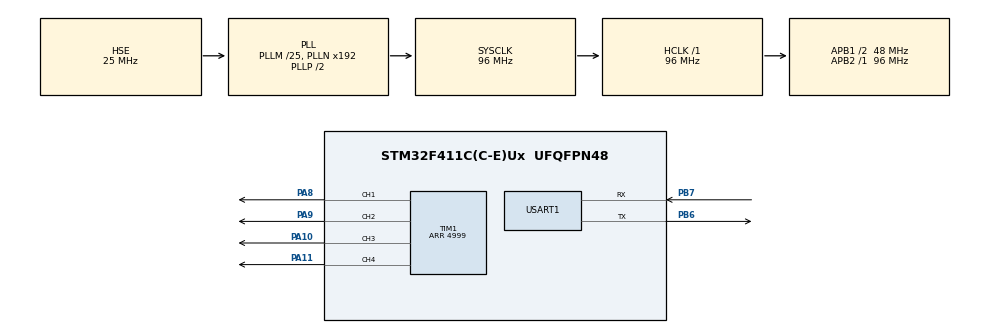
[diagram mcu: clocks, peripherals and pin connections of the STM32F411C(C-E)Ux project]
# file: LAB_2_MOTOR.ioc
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Mcu.Family=STM32F4
Mcu.Name=STM32F411C(C-E)Ux
Mcu.Package=UFQFPN48
NVIC.PriorityGroup=NVIC_PRIORITYGROUP_4
NVIC.TIM1_CC_IRQn=true\:0\:0\:false\:false\:true\:true\:true\:true
NVIC.USART1_IRQn=true\:0\:0\:false\:false\:true\:true\:true\:true
PA10.Signal=S_TIM1_CH3
PA11.Signal=S_TIM1_CH4
PA8.Signal=S_TIM1_CH1
PA9.Signal=S_TIM1_CH2
PB6.Mode=Asynchronous
PB6.Signal=USART1_TX
PB7.Mode=Asynchronous
PB7.Signal=USART1_RX
PH0\ -\ OSC_IN.Mode=HSE-External-Oscillator
PH0\ -\ OSC_IN.Signal=RCC_OSC_IN
PH1\ -\ OSC_OUT.Mode=HSE-External-Oscillator
PH1\ -\ OSC_OUT.Signal=RCC_OSC_OUT
ProjectManager.HeapSize=0x200
ProjectManager.StackSize=0x400
ProjectManager.TargetToolchain=STM32CubeIDE
RCC.48MHZClocksFreq_Value=48000000
RCC.AHBFreq_Value=96000000
RCC.APB1CLKDivider=RCC_HCLK_DIV2
RCC.APB1Freq_Value=48000000
RCC.APB1TimFreq_Value=96000000
RCC.APB2Freq_Value=96000000
RCC.APB2TimFreq_Value=96000000
RCC.CortexFreq_Value=96000000
RCC.HCLKFreq_Value=96000000
RCC.HSE_VALUE=25000000
RCC.HSI_VALUE=16000000
RCC.LSE_VALUE=32768
RCC.PLLM=25
RCC.PLLSourceVirtual=RCC_PLLSOURCE_HSE
RCC.SYSCLKFreq_VALUE=96000000
RCC.SYSCLKSource=RCC_SYSCLKSOURCE_PLLCLK
RCC.VCOOutputFreq_Value=192000000
SH.S_TIM1_CH1.0=TIM1_CH1,PWM Generation1 CH1
SH.S_TIM1_CH2.0=TIM1_CH2,PWM Generation2 CH2
SH.S_TIM1_CH3.0=TIM1_CH3,PWM Generation3 CH3
SH.S_TIM1_CH4.0=TIM1_CH4,PWM Generation4 CH4
TIM1.Channel-PWM\ Generation1\ CH1=TIM_CHANNEL_1
TIM1.Channel-PWM\ Generation2\ CH2=TIM_CHANNEL_2
TIM1.Channel-PWM\ Generation3\ CH3=TIM_CHANNEL_3
TIM1.Channel-PWM\ Generation4\ CH4=TIM_CHANNEL_4
TIM1.Period=4999
USART1.VirtualMode=VM_ASYNC
VP_TIM1_VS_ClockSourceINT.Mode=Internal
VP_TIM1_VS_ClockSourceITR.Mode=TriggerSource_ITR1
board=custom

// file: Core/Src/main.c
/* USER CODE BEGIN Header */
	/**
	  ******************************************************************************
	  * @file           : main.c
	  * @brief          : Main program body
	  ******************************************************************************
	  * @attention
	  *
	  * Copyright (c) 2026 STMicroelectronics.
	  * All rights reserved.
	  *
	  * This software is licensed under terms that can be found in the LICENSE file
	  * in the root directory of this software component.
	  * If no LICENSE file comes with this software, it is provided AS-IS.
	  *
	  ******************************************************************************
	  */
/* USER CODE END Header */
	#include "main.h" // Includes main.h header file

/* USER CODE BEGIN Includes */
	#include "motor_driver.h"   // Includes motor_driver.h header file
	#include <stdint.h>  		// Makes it so we have precise and predictable integer sizes
	#include <stdio.h>  		// String formatting
	#include <string.h> 		// Strings in memory
/* USER CODE END Includes */

/* USER CODE BEGIN PD */
	#define PWM_MAX 4999		// Defining the PWM_max as 4999

/* USER CODE END PD */

TIM_HandleTypeDef htim1;

UART_HandleTypeDef huart1;

/* USER CODE BEGIN PV */

	MotorDriver_t motor1;
	MotorDriver_t motor2;

	volatile int16_t motor1_cmd = 0;
	volatile int16_t motor2_cmd = 0;

	uint8_t rx_char;
	char cmd_buffer[16];
	uint8_t cmd_index = 0;
/* USER CODE END PV */

void SystemClock_Config(void);
static void MX_GPIO_Init(void);
static void MX_TIM1_Init(void);
static void MX_USART1_UART_Init(void);

/* USER CODE BEGIN 0 */
int hex_char_to_val(char c)
{
    if (c >= '0' && c <= '9') return c - '0';
    if (c >= 'A' && c <= 'F') return c - 'A' + 10;
    if (c >= 'a' && c <= 'f') return c - 'a' + 10;
    return -1;
}

int8_t hex_pair_to_int8(char high, char low)
{
    int hi = hex_char_to_val(high);
    int lo = hex_char_to_val(low);

    if (hi < 0 || lo < 0)
    {
        return 0;
    }

    return (int8_t)((hi << 4) | lo);
}

void process_command(char *cmd)
{
    char msg[64];
    int motor_num;
    int8_t value;

    if (strlen(cmd) != 4)
    {
        snprintf(msg, sizeof(msg), "Invalid command\r\n");
        HAL_UART_Transmit(&huart1, (uint8_t *)msg, strlen(msg), HAL_MAX_DELAY);
        return;
    }

    if (cmd[0] != 'M')
    {
        snprintf(msg, sizeof(msg), "Invalid command type\r\n");
        HAL_UART_Transmit(&huart1, (uint8_t *)msg, strlen(msg), HAL_MAX_DELAY);
        return;
    }

    if (cmd[1] != '1' && cmd[1] != '2')
    {
        snprintf(msg, sizeof(msg), "Invalid motor number\r\n");
        HAL_UART_Transmit(&huart1, (uint8_t *)msg, strlen(msg), HAL_MAX_DELAY);
        return;
    }

    if (hex_char_to_val(cmd[2]) < 0 || hex_char_to_val(cmd[3]) < 0)
    {
        snprintf(msg, sizeof(msg), "Invalid hex value\r\n");
        HAL_UART_Transmit(&huart1, (uint8_t *)msg, strlen(msg), HAL_MAX_DELAY);
        return;
    }

    motor_num = cmd[1] - '0';
    value = hex_pair_to_int8(cmd[2], cmd[3]);

    if (motor_num == 1)
    {
        motor1_cmd = value;
    }
    else
    {
        motor2_cmd = value;
    }

    snprintf(msg, sizeof(msg), "Motor %d command = %d\r\n", motor_num, value);
    HAL_UART_Transmit(&huart1, (uint8_t *)msg, strlen(msg), HAL_MAX_DELAY);
}
/* USER CODE END 0 */

int main(void)
{

  /* MCU Configuration--------------------------------------------------------*/

  /* Reset of all peripherals, Initializes the Flash interface and the Systick. */
  HAL_Init();

  /* Configure the system clock */
  SystemClock_Config();

  /* Initialize all configured peripherals */
  MX_GPIO_Init();
  MX_TIM1_Init();
  MX_USART1_UART_Init();
  /* USER CODE BEGIN 2 */

	  motor1.htim = &htim1;
	  motor1.ch_forward = TIM_CHANNEL_1;
	  motor1.ch_reverse = TIM_CHANNEL_2;
	  motor1.max_pwm = PWM_MAX;

	  motor2.htim = &htim1;
	  motor2.ch_forward = TIM_CHANNEL_3;
	  motor2.ch_reverse = TIM_CHANNEL_4;
	  motor2.max_pwm = PWM_MAX;

	  Motor_Enable(&motor1);
	  Motor_Enable(&motor2);
	  Motor_SetDuty(&motor1, 0);
	  Motor_SetDuty(&motor2, 0);

	  HAL_UART_Receive_IT(&huart1, &rx_char, 1);

	  char startup_msg[] = "UART ready\r\n";
	  HAL_UART_Transmit(&huart1, (uint8_t *)startup_msg, strlen(startup_msg), HAL_MAX_DELAY);
  /* USER CODE END 2 */

  /* Infinite loop */
  while (1)
  {

    /* USER CODE BEGIN 3 */
	  if (motor1_cmd == 0)
	      {
	          Motor_Disable(&motor1);
	      }
	      else
	      {
	          Motor_Enable(&motor1);
	          Motor_SetDuty(&motor1, motor1_cmd);
	      }

	      if (motor2_cmd == 0)
	      {
	          Motor_Disable(&motor2);
	      }
	      else
	      {
	          Motor_Enable(&motor2);
	          Motor_SetDuty(&motor2, motor2_cmd);
	      }

	      HAL_Delay(10);
  }
  /* USER CODE END 3 */
}

void SystemClock_Config(void)
{
  RCC_OscInitTypeDef RCC_OscInitStruct = {0};
  RCC_ClkInitTypeDef RCC_ClkInitStruct = {0};

  /** Configure the main internal regulator output voltage
  */
  __HAL_RCC_PWR_CLK_ENABLE();
  __HAL_PWR_VOLTAGESCALING_CONFIG(PWR_REGULATOR_VOLTAGE_SCALE1);

  /** Initializes the RCC Oscillators according to the specified parameters
  * in the RCC_OscInitTypeDef structure.
  */
  RCC_OscInitStruct.OscillatorType = RCC_OSCILLATORTYPE_HSE;
  RCC_OscInitStruct.HSEState = RCC_HSE_ON;
  RCC_OscInitStruct.PLL.PLLState = RCC_PLL_ON;
  RCC_OscInitStruct.PLL.PLLSource = RCC_PLLSOURCE_HSE;
  RCC_OscInitStruct.PLL.PLLM = 25;
  RCC_OscInitStruct.PLL.PLLN = 192;
  RCC_OscInitStruct.PLL.PLLP = RCC_PLLP_DIV2;
  RCC_OscInitStruct.PLL.PLLQ = 4;
  if (HAL_RCC_OscConfig(&RCC_OscInitStruct) != HAL_OK)
  {
    Error_Handler();
  }

  /** Initializes the CPU, AHB and APB buses clocks
  */
  RCC_ClkInitStruct.ClockType = RCC_CLOCKTYPE_HCLK|RCC_CLOCKTYPE_SYSCLK
                              |RCC_CLOCKTYPE_PCLK1|RCC_CLOCKTYPE_PCLK2;
  RCC_ClkInitStruct.SYSCLKSource = RCC_SYSCLKSOURCE_PLLCLK;
  RCC_ClkInitStruct.AHBCLKDivider = RCC_SYSCLK_DIV1;
  RCC_ClkInitStruct.APB1CLKDivider = RCC_HCLK_DIV2;
  RCC_ClkInitStruct.APB2CLKDivider = RCC_HCLK_DIV1;

  if (HAL_RCC_ClockConfig(&RCC_ClkInitStruct, FLASH_LATENCY_3) != HAL_OK)
  {
    Error_Handler();
  }
}

static void MX_TIM1_Init(void)
{

  TIM_ClockConfigTypeDef sClockSourceConfig = {0};
  TIM_SlaveConfigTypeDef sSlaveConfig = {0};
  TIM_MasterConfigTypeDef sMasterConfig = {0};
  TIM_OC_InitTypeDef sConfigOC = {0};
  TIM_BreakDeadTimeConfigTypeDef sBreakDeadTimeConfig = {0};

  htim1.Instance = TIM1;
  htim1.Init.Prescaler = 0;
  htim1.Init.CounterMode = TIM_COUNTERMODE_UP;
  htim1.Init.Period = 4999;
  htim1.Init.ClockDivision = TIM_CLOCKDIVISION_DIV1;
  htim1.Init.RepetitionCounter = 0;
  htim1.Init.AutoReloadPreload = TIM_AUTORELOAD_PRELOAD_DISABLE;
  if (HAL_TIM_Base_Init(&htim1) != HAL_OK)
  {
    Error_Handler();
  }
  sClockSourceConfig.ClockSource = TIM_CLOCKSOURCE_INTERNAL;
  if (HAL_TIM_ConfigClockSource(&htim1, &sClockSourceConfig) != HAL_OK)
  {
    Error_Handler();
  }
  if (HAL_TIM_PWM_Init(&htim1) != HAL_OK)
  {
    Error_Handler();
  }
  sSlaveConfig.SlaveMode = TIM_SLAVEMODE_DISABLE;
  sSlaveConfig.InputTrigger = TIM_TS_ITR1;
  if (HAL_TIM_SlaveConfigSynchro(&htim1, &sSlaveConfig) != HAL_OK)
  {
    Error_Handler();
  }
  sMasterConfig.MasterOutputTrigger = TIM_TRGO_RESET;
  sMasterConfig.MasterSlaveMode = TIM_MASTERSLAVEMODE_DISABLE;
  if (HAL_TIMEx_MasterConfigSynchronization(&htim1, &sMasterConfig) != HAL_OK)
  {
    Error_Handler();
  }
  sConfigOC.OCMode = TIM_OCMODE_PWM1;
  sConfigOC.Pulse = 0;
  sConfigOC.OCPolarity = TIM_OCPOLARITY_HIGH;
  sConfigOC.OCNPolarity = TIM_OCNPOLARITY_HIGH;
  sConfigOC.OCFastMode = TIM_OCFAST_DISABLE;
  sConfigOC.OCIdleState = TIM_OCIDLESTATE_RESET;
  sConfigOC.OCNIdleState = TIM_OCNIDLESTATE_RESET;
  if (HAL_TIM_PWM_ConfigChannel(&htim1, &sConfigOC, TIM_CHANNEL_1) != HAL_OK)
  {
    Error_Handler();
  }
  if (HAL_TIM_PWM_ConfigChannel(&htim1, &sConfigOC, TIM_CHANNEL_2) != HAL_OK)
  {
    Error_Handler();
  }
  if (HAL_TIM_PWM_ConfigChannel(&htim1, &sConfigOC, TIM_CHANNEL_3) != HAL_OK)
  {
    Error_Handler();
  }
  if (HAL_TIM_PWM_ConfigChannel(&htim1, &sConfigOC, TIM_CHANNEL_4) != HAL_OK)
  {
    Error_Handler();
  }
  sBreakDeadTimeConfig.OffStateRunMode = TIM_OSSR_DISABLE;
  sBreakDeadTimeConfig.OffStateIDLEMode = TIM_OSSI_DISABLE;
  sBreakDeadTimeConfig.LockLevel = TIM_LOCKLEVEL_OFF;
  sBreakDeadTimeConfig.DeadTime = 0;
  sBreakDeadTimeConfig.BreakState = TIM_BREAK_DISABLE;
  sBreakDeadTimeConfig.BreakPolarity = TIM_BREAKPOLARITY_HIGH;
  sBreakDeadTimeConfig.AutomaticOutput = TIM_AUTOMATICOUTPUT_DISABLE;
  if (HAL_TIMEx_ConfigBreakDeadTime(&htim1, &sBreakDeadTimeConfig) != HAL_OK)
  {
    Error_Handler();
  }
  HAL_TIM_MspPostInit(&htim1);

}

static void MX_USART1_UART_Init(void)
{

  huart1.Instance = USART1;
  huart1.Init.BaudRate = 115200;
  huart1.Init.WordLength = UART_WORDLENGTH_8B;
  huart1.Init.StopBits = UART_STOPBITS_1;
  huart1.Init.Parity = UART_PARITY_NONE;
  huart1.Init.Mode = UART_MODE_TX_RX;
  huart1.Init.HwFlowCtl = UART_HWCONTROL_NONE;
  huart1.Init.OverSampling = UART_OVERSAMPLING_16;
  if (HAL_UART_Init(&huart1) != HAL_OK)
  {
    Error_Handler();
  }

}

static void MX_GPIO_Init(void)
{

  /* GPIO Ports Clock Enable */
  __HAL_RCC_GPIOH_CLK_ENABLE();
  __HAL_RCC_GPIOA_CLK_ENABLE();
  __HAL_RCC_GPIOB_CLK_ENABLE();

}

/* USER CODE BEGIN 4 */
void HAL_UART_RxCpltCallback(UART_HandleTypeDef *huart)
{
    if (huart->Instance == USART1)
    {
        if (rx_char == '\r')
        {
            cmd_buffer[cmd_index] = '\0';
            process_command(cmd_buffer);
            cmd_index = 0;
            memset(cmd_buffer, 0, sizeof(cmd_buffer));
            HAL_UART_Transmit(&huart1, (uint8_t *)"\r\n", 2, HAL_MAX_DELAY);
        }
        else if (rx_char != '\n')
        {
            if (cmd_index < sizeof(cmd_buffer) - 1)
            {
                cmd_buffer[cmd_index++] = rx_char;
                HAL_UART_Transmit(&huart1, &rx_char, 1, HAL_MAX_DELAY);
            }
        }

        HAL_UART_Receive_IT(&huart1, &rx_char, 1);
    }
}
/* USER CODE END 4 */

void Error_Handler(void)
{
	  __disable_irq();
	  while (1)
	  {
	  }
}
